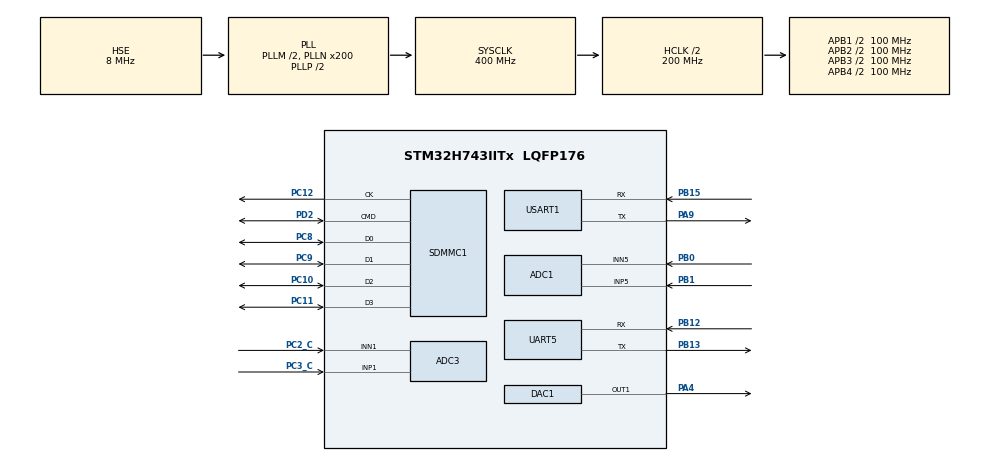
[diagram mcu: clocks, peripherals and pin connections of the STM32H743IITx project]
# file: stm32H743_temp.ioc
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ADC1.Channel-0\#ChannelRegularConversion=ADC_CHANNEL_5
ADC1.NbrOfConversionFlag=1
ADC1.OffsetNumber-0\#ChannelRegularConversion=ADC_OFFSET_NONE
ADC1.Rank-0\#ChannelRegularConversion=1
ADC1.SamplingTime-0\#ChannelRegularConversion=ADC_SAMPLETIME_1CYCLE_5
ADC1.SingleDiff-0\#ChannelRegularConversion=ADC_DIFFERENTIAL_ENDED
ADC1.master=1
ADC2.Channel-0\#ChannelRegularConversion=ADC_CHANNEL_5
ADC2.NbrOfConversionFlag=1
ADC2.OffsetNumber-0\#ChannelRegularConversion=ADC_OFFSET_NONE
ADC2.Rank-0\#ChannelRegularConversion=1
ADC2.SamplingTime-0\#ChannelRegularConversion=ADC_SAMPLETIME_1CYCLE_5
ADC2.SingleDiff-0\#ChannelRegularConversion=ADC_DIFFERENTIAL_ENDED
ADC3.Channel-0\#ChannelRegularConversion=ADC_CHANNEL_1
ADC3.NbrOfConversionFlag=1
ADC3.OffsetNumber-0\#ChannelRegularConversion=ADC_OFFSET_NONE
ADC3.Rank-0\#ChannelRegularConversion=1
ADC3.SamplingTime-0\#ChannelRegularConversion=ADC_SAMPLETIME_1CYCLE_5
ADC3.SingleDiff-0\#ChannelRegularConversion=ADC_DIFFERENTIAL_ENDED
CORTEX_M7.CPU_DCache=Enabled
FATFS._CODE_PAGE=936
FATFS._MAX_SS=4096
FATFS._STRF_ENCODE=0
FATFS._USE_FIND=1
FATFS._USE_LFN=2
FREERTOS.Tasks01=defaultTask,0,128,StartDefaultTask,Default,NULL,Dynamic,NULL,NULL;myTaskUsartSent,-3,128,UsartSent,Default,NULL,Dynamic,NULL,NULL;myTaskWriteDisk,-3,128,WriteDisk,Default,NULL,Dynamic,NULL,NULL;myTaskReadDisk,-3,128,ReadDisk,Default,NULL,Dynamic,NULL,NULL
Mcu.Family=STM32H7
Mcu.Name=STM32H743IITx
Mcu.Package=LQFP176
Mdma.MDMA_Channel0.Request0=SDMMC1_END_DATA
Mdma.MDMA_Channel0.RequestsNb=1
Mdma.MDMA_Channel0.SDMMC1_END_DATA.0.BlockCount=0
Mdma.MDMA_Channel0.SDMMC1_END_DATA.0.BlockDataLength=0
Mdma.MDMA_Channel0.SDMMC1_END_DATA.0.BufferTransferLength=1
Mdma.MDMA_Channel0.SDMMC1_END_DATA.0.CircularMode=MDMA_LINEAR_LIST
Mdma.MDMA_Channel0.SDMMC1_END_DATA.0.DataAlignment=MDMA_DATAALIGN_PACKENABLE
Mdma.MDMA_Channel0.SDMMC1_END_DATA.0.DestBlockAddressOffset=0
Mdma.MDMA_Channel0.SDMMC1_END_DATA.0.DestBurst=MDMA_DEST_BURST_SINGLE
Mdma.MDMA_Channel0.SDMMC1_END_DATA.0.DestDataSize=MDMA_DEST_DATASIZE_BYTE
Mdma.MDMA_Channel0.SDMMC1_END_DATA.0.DestinationInc=MDMA_DEST_INC_BYTE
Mdma.MDMA_Channel0.SDMMC1_END_DATA.0.DstAddress=0
Mdma.MDMA_Channel0.SDMMC1_END_DATA.0.Endianness=MDMA_LITTLE_ENDIANNESS_PRESERVE
Mdma.MDMA_Channel0.SDMMC1_END_DATA.0.Instance=MDMA_Channel0
Mdma.MDMA_Channel0.SDMMC1_END_DATA.0.MaskAddress=0
Mdma.MDMA_Channel0.SDMMC1_END_DATA.0.MaskData=0
Mdma.MDMA_Channel0.SDMMC1_END_DATA.0.Priority=MDMA_PRIORITY_LOW
Mdma.MDMA_Channel0.SDMMC1_END_DATA.0.Rank=First
Mdma.MDMA_Channel0.SDMMC1_END_DATA.0.SourceBlockAddressOffset=0
Mdma.MDMA_Channel0.SDMMC1_END_DATA.0.SourceBurst=MDMA_SOURCE_BURST_SINGLE
Mdma.MDMA_Channel0.SDMMC1_END_DATA.0.SourceDataSize=MDMA_SRC_DATASIZE_BYTE
Mdma.MDMA_Channel0.SDMMC1_END_DATA.0.SourceInc=MDMA_SRC_INC_BYTE
Mdma.MDMA_Channel0.SDMMC1_END_DATA.0.SrcAddress=0
Mdma.MDMA_Channel0.SDMMC1_END_DATA.0.TransferTriggerMode=MDMA_BUFFER_TRANSFER
Mdma.RequestSet0=MDMA_Channel0
Mdma.RequestSetsNb=1
NVIC.PriorityGroup=NVIC_PRIORITYGROUP_4
NVIC.SDMMC1_IRQn=true\:5\:0\:false\:false\:true\:true\:true
NVIC.TIM3_IRQn=true\:5\:0\:false\:false\:true\:true\:true
NVIC.TIM6_DAC_IRQn=true\:0\:0\:false\:false\:true\:false\:false
NVIC.TimeBase=TIM6_DAC_IRQn
NVIC.TimeBaseIP=TIM6
NVIC.UART5_IRQn=true\:5\:0\:false\:false\:true\:true\:true
NVIC.USART1_IRQn=true\:5\:0\:true\:false\:true\:true\:true
PA0-WKUP.Mode=SYS_WakeUp0
PA0-WKUP.Signal=SYS_WKUP0
PA13.Mode=Serial_Wire
PA13.Signal=SYS_JTMS-SWDIO
PA14.Mode=Serial_Wire
PA14.Signal=SYS_JTCK-SWCLK
PA4.Signal=COMP_DAC11_group
PA9.Mode=Asynchronous
PA9.Signal=USART1_TX
PB0.Signal=ADCx_INN5
PB1.Signal=ADCx_INP5
PB12.Mode=Asynchronous
PB12.Signal=UART5_RX
PB13.Mode=Asynchronous
PB13.Signal=UART5_TX
PB15.GPIO_ModeDefaultPP=GPIO_MODE_AF_PP
PB15.GPIO_PuPd=GPIO_NOPULL
PB15.GPIO_Speed=GPIO_SPEED_FREQ_LOW
PB15.Mode=Asynchronous
PB15.Signal=USART1_RX
PC10.Mode=SD_4_bits_Wide_bus
PC10.Signal=SDMMC1_D2
PC11.Mode=SD_4_bits_Wide_bus
PC11.Signal=SDMMC1_D3
PC12.Mode=SD_4_bits_Wide_bus
PC12.Signal=SDMMC1_CK
PC2_C.Mode=IN1-Differential
PC2_C.Signal=ADC3_INN1
PC3_C.Mode=IN1-Differential
PC3_C.Signal=ADC3_INP1
PC8.Mode=SD_4_bits_Wide_bus
PC8.Signal=SDMMC1_D0
PC9.Mode=SD_4_bits_Wide_bus
PC9.Signal=SDMMC1_D1
PD2.Mode=SD_4_bits_Wide_bus
PD2.Signal=SDMMC1_CMD
PH0-OSC_IN.Mode=HSE-External-Oscillator
PH0-OSC_IN.Signal=RCC_OSC_IN
PH1-OSC_OUT.Mode=HSE-External-Oscillator
PH1-OSC_OUT.Signal=RCC_OSC_OUT
ProjectManager.HeapSize=0x200
ProjectManager.StackSize=0x1000
ProjectManager.TargetToolchain=EWARM V8
RCC.ADCFreq_Value=152000000
RCC.APB1Freq_Value=100000000
RCC.APB2Freq_Value=100000000
RCC.APB3Freq_Value=100000000
RCC.APB4Freq_Value=100000000
RCC.CortexFreq_Value=400000000
RCC.D1PPRE=RCC_APB3_DIV2
RCC.D2PPRE1=RCC_APB1_DIV2
RCC.D2PPRE2=RCC_APB2_DIV2
RCC.D3PPRE=RCC_APB4_DIV2
RCC.DIVM1=2
RCC.DIVM2=1
RCC.DIVN1=200
RCC.DIVN2=19
RCC.DIVP2=1
RCC.DIVQ1=4
RCC.HCLKFreq_Value=200000000
RCC.HPRE=RCC_HCLK_DIV2
RCC.HSE_VALUE=8000000
RCC.PLLSourceVirtual=RCC_PLLSOURCE_HSE
RCC.SYSCLKFreq_VALUE=400000000
RCC.SYSCLKSource=RCC_SYSCLKSOURCE_PLLCLK
RCC.USBFreq_Value=200000000
SH.ADCx_INN5.0=ADC1_INN5,IN5-Differential
SH.ADCx_INN5.1=ADC2_INN5,IN5-Differential
SH.ADCx_INP5.0=ADC1_INP5,IN5-Differential
SH.ADCx_INP5.1=ADC2_INP5,IN5-Differential
SH.COMP_DAC11_group.0=DAC1_OUT1,DAC_OUT1_ExtAndInt
TIM3.Period=4999
TIM3.Prescaler=19999
USART1.VirtualMode-Asynchronous=VM_ASYNC
VP_CRC_VS_CRC.Mode=CRC_Activate
VP_FATFS_VS_SDIO.Mode=SDIO
VP_FREERTOS_VS_ENABLE.Mode=Enabled
VP_SYS_VS_tim6.Mode=TIM6
VP_TIM12_VS_ClockSourceINT.Mode=Internal
VP_TIM13_VS_ClockSourceINT.Mode=Enable_Timer
VP_TIM14_VS_ClockSourceINT.Mode=Enable_Timer
VP_TIM15_VS_ClockSourceINT.Mode=Internal
VP_TIM16_VS_ClockSourceINT.Mode=Enable_Timer
VP_TIM17_VS_ClockSourceINT.Mode=Enable_Timer
VP_TIM1_VS_ClockSourceINT.Mode=Internal
VP_TIM2_VS_ClockSourceINT.Mode=Internal
VP_TIM3_VS_ClockSourceINT.Mode=Internal
VP_TIM4_VS_ClockSourceINT.Mode=Internal
VP_TIM5_VS_ClockSourceINT.Mode=Internal
VP_TIM7_VS_ClockSourceINT.Mode=Enable_Timer
VP_TIM8_VS_ClockSourceINT.Mode=Internal
board=custom

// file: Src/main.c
/**
  ******************************************************************************
  * @file           : main.c
  * @brief          : Main program body
  ******************************************************************************
  * This notice applies to any and all portions of this file
  * that are not between comment pairs USER CODE BEGIN and
  * USER CODE END. Other portions of this file, whether
  * inserted by the user or by software development tools
  * are owned by their respective copyright owners.
  *
  * Copyright (c) 2018 STMicroelectronics International N.V.
  * All rights reserved.
  *
  * Redistribution and use in source and binary forms, with or without
  * modification, are permitted, provided that the following conditions are met:
  *
  * 1. Redistribution of source code must retain the above copyright notice,
  *    this list of conditions and the following disclaimer.
  * 2. Redistributions in binary form must reproduce the above copyright notice,
  *    this list of conditions and the following disclaimer in the documentation
  *    and/or other materials provided with the distribution.
  * 3. Neither the name of STMicroelectronics nor the names of other
  *    contributors to this software may be used to endorse or promote products
  *    derived from this software without specific written permission.
  * 4. This software, including modifications and/or derivative works of this
  *    software, must execute solely and exclusively on microcontroller or
  *    microprocessor devices manufactured by or for STMicroelectronics.
  * 5. Redistribution and use of this software other than as permitted under
  *    this license is void and will automatically terminate your rights under
  *    this license.
  *
  * THIS SOFTWARE IS PROVIDED BY STMICROELECTRONICS AND CONTRIBUTORS "AS IS"
  * AND ANY EXPRESS, IMPLIED OR STATUTORY WARRANTIES, INCLUDING, BUT NOT
  * LIMITED TO, THE IMPLIED WARRANTIES OF MERCHANTABILITY, FITNESS FOR A
  * PARTICULAR PURPOSE AND NON-INFRINGEMENT OF THIRD PARTY INTELLECTUAL PROPERTY
  * RIGHTS ARE DISCLAIMED TO THE FULLEST EXTENT PERMITTED BY LAW. IN NO EVENT
  * SHALL STMICROELECTRONICS OR CONTRIBUTORS BE LIABLE FOR ANY DIRECT, INDIRECT,
  * INCIDENTAL, SPECIAL, EXEMPLARY, OR CONSEQUENTIAL DAMAGES (INCLUDING, BUT NOT
  * LIMITED TO, PROCUREMENT OF SUBSTITUTE GOODS OR SERVICES; LOSS OF USE, DATA,
  * OR PROFITS; OR BUSINESS INTERRUPTION) HOWEVER CAUSED AND ON ANY THEORY OF
  * LIABILITY, WHETHER IN CONTRACT, STRICT LIABILITY, OR TORT (INCLUDING
  * NEGLIGENCE OR OTHERWISE) ARISING IN ANY WAY OUT OF THE USE OF THIS SOFTWARE,
  * EVEN IF ADVISED OF THE POSSIBILITY OF SUCH DAMAGE.
  *
  ******************************************************************************
  */
#include "main.h"
#include "stm32h7xx_hal.h"
#include "cmsis_os.h"
#include "adc.h"
#include "crc.h"
#include "dac.h"
#include "fatfs.h"
#include "mdma.h"
#include "sdmmc.h"
#include "tim.h"
#include "usart.h"
#include "gpio.h"

/* USER CODE BEGIN Includes */
extern int gUsartRecive[10];
/* USER CODE END Includes */

/* USER CODE BEGIN PV */
/* Private variables ---------------------------------------------------------*/

/* USER CODE END PV */

void SystemClock_Config(void);
void MX_FREERTOS_Init(void);

/* USER CODE BEGIN PFP */
/* Private function prototypes -----------------------------------------------*/

/* USER CODE END PFP */

/* USER CODE BEGIN 0 */

/*******************************************
*			usart1 debug print
********************************************/
int fputc(int ch,FILE *f)
{

  	HAL_UART_Transmit(&huart1, (uint8_t *)&ch,1, 0xFFFF);
  	return ch;

}
/* USER CODE END 0 */

int main(void)
{

  /* Enable D-Cache-------------------------------------------------------------*/
  SCB_EnableDCache();

  /* MCU Configuration----------------------------------------------------------*/

  /* Reset of all peripherals, Initializes the Flash interface and the Systick. */
  HAL_Init();

  /* Configure the system clock */
  SystemClock_Config();

  /* Initialize all configured peripherals */
  MX_GPIO_Init();
  MX_MDMA_Init();
  MX_CRC_Init();
  MX_ADC1_Init();
  MX_ADC2_Init();
  MX_ADC3_Init();
  MX_DAC1_Init();
  MX_TIM1_Init();
  MX_TIM2_Init();
  MX_TIM3_Init();
  MX_TIM4_Init();
  MX_TIM5_Init();
  MX_TIM7_Init();
  MX_TIM8_Init();
  MX_TIM12_Init();
  MX_TIM13_Init();
  MX_TIM14_Init();
  MX_TIM15_Init();
  MX_TIM16_Init();
  MX_TIM17_Init();
  MX_USART1_UART_Init();
  MX_UART5_Init();
  MX_SDMMC1_SD_Init();
  /* USER CODE BEGIN 2 */
  while(HAL_UART_Receive_IT(&huart1, (uint8_t *)aUsart1RxBuffer, 1) != HAL_OK);
//  while(HAL_UART_Receive_IT(&huart5, (uint8_t *)aUsart5RxBuffer, 1) != HAL_OK);
  /* USER CODE END 2 */

  /* Call init function for freertos objects (in freertos.c) */
  MX_FREERTOS_Init();

  /* Start scheduler */
  osKernelStart();

  /* We should never get here as control is now taken by the scheduler */

  /* Infinite loop */
  while (1)
  {

  /* USER CODE BEGIN 3 */
//    UsartSend();
  }
  /* USER CODE END 3 */

}

void SystemClock_Config(void)
{

  RCC_OscInitTypeDef RCC_OscInitStruct;
  RCC_ClkInitTypeDef RCC_ClkInitStruct;
  RCC_PeriphCLKInitTypeDef PeriphClkInitStruct;

    /**Supply configuration update enable
    */
  MODIFY_REG(PWR->CR3, PWR_CR3_SCUEN, 0);

    /**Configure the main internal regulator output voltage
    */
  __HAL_PWR_VOLTAGESCALING_CONFIG(PWR_REGULATOR_VOLTAGE_SCALE1);

  while ((PWR->D3CR & (PWR_D3CR_VOSRDY)) != PWR_D3CR_VOSRDY)
  {

  }
    /**Macro to configure the PLL clock source
    */
  __HAL_RCC_PLL_PLLSOURCE_CONFIG(RCC_PLLSOURCE_HSE);

    /**Initializes the CPU, AHB and APB busses clocks
    */
  RCC_OscInitStruct.OscillatorType = RCC_OSCILLATORTYPE_HSE;
  RCC_OscInitStruct.HSEState = RCC_HSE_ON;
  RCC_OscInitStruct.PLL.PLLState = RCC_PLL_ON;
  RCC_OscInitStruct.PLL.PLLSource = RCC_PLLSOURCE_HSE;
  RCC_OscInitStruct.PLL.PLLM = 2;
  RCC_OscInitStruct.PLL.PLLN = 200;
  RCC_OscInitStruct.PLL.PLLP = 2;
  RCC_OscInitStruct.PLL.PLLQ = 4;
  RCC_OscInitStruct.PLL.PLLR = 2;
  RCC_OscInitStruct.PLL.PLLRGE = RCC_PLL1VCIRANGE_2;
  RCC_OscInitStruct.PLL.PLLVCOSEL = RCC_PLL1VCOWIDE;
  RCC_OscInitStruct.PLL.PLLFRACN = 0;
  if (HAL_RCC_OscConfig(&RCC_OscInitStruct) != HAL_OK)
  {
    _Error_Handler(__FILE__, __LINE__);
  }

    /**Initializes the CPU, AHB and APB busses clocks
    */
  RCC_ClkInitStruct.ClockType = RCC_CLOCKTYPE_HCLK|RCC_CLOCKTYPE_SYSCLK
                              |RCC_CLOCKTYPE_PCLK1|RCC_CLOCKTYPE_PCLK2
                              |RCC_CLOCKTYPE_D3PCLK1|RCC_CLOCKTYPE_D1PCLK1;
  RCC_ClkInitStruct.SYSCLKSource = RCC_SYSCLKSOURCE_PLLCLK;
  RCC_ClkInitStruct.SYSCLKDivider = RCC_SYSCLK_DIV1;
  RCC_ClkInitStruct.AHBCLKDivider = RCC_HCLK_DIV2;
  RCC_ClkInitStruct.APB3CLKDivider = RCC_APB3_DIV2;
  RCC_ClkInitStruct.APB1CLKDivider = RCC_APB1_DIV2;
  RCC_ClkInitStruct.APB2CLKDivider = RCC_APB2_DIV2;
  RCC_ClkInitStruct.APB4CLKDivider = RCC_APB4_DIV2;

  if (HAL_RCC_ClockConfig(&RCC_ClkInitStruct, FLASH_LATENCY_2) != HAL_OK)
  {
    _Error_Handler(__FILE__, __LINE__);
  }

  PeriphClkInitStruct.PeriphClockSelection = RCC_PERIPHCLK_USART1|RCC_PERIPHCLK_UART5
                              |RCC_PERIPHCLK_SDMMC|RCC_PERIPHCLK_ADC;
  PeriphClkInitStruct.PLL2.PLL2M = 1;
  PeriphClkInitStruct.PLL2.PLL2N = 19;
  PeriphClkInitStruct.PLL2.PLL2P = 1;
  PeriphClkInitStruct.PLL2.PLL2Q = 2;
  PeriphClkInitStruct.PLL2.PLL2R = 2;
  PeriphClkInitStruct.PLL2.PLL2RGE = RCC_PLL2VCIRANGE_3;
  PeriphClkInitStruct.PLL2.PLL2VCOSEL = RCC_PLL2VCOMEDIUM;
  PeriphClkInitStruct.PLL2.PLL2FRACN = 0;
  PeriphClkInitStruct.SdmmcClockSelection = RCC_SDMMCCLKSOURCE_PLL;
  PeriphClkInitStruct.Usart234578ClockSelection = RCC_USART234578CLKSOURCE_D2PCLK1;
  PeriphClkInitStruct.Usart16ClockSelection = RCC_USART16CLKSOURCE_D2PCLK2;
  PeriphClkInitStruct.AdcClockSelection = RCC_ADCCLKSOURCE_PLL2;
  if (HAL_RCCEx_PeriphCLKConfig(&PeriphClkInitStruct) != HAL_OK)
  {
    _Error_Handler(__FILE__, __LINE__);
  }

    /**Configure the Systick interrupt time
    */
  HAL_SYSTICK_Config(SystemCoreClock/1000);

    /**Configure the Systick
    */
  HAL_SYSTICK_CLKSourceConfig(SYSTICK_CLKSOURCE_HCLK);

  /* SysTick_IRQn interrupt configuration */
  HAL_NVIC_SetPriority(SysTick_IRQn, 15, 0);
}

void HAL_TIM_PeriodElapsedCallback(TIM_HandleTypeDef *htim)
{
  if (htim->Instance == TIM6) {
    HAL_IncTick();
  }
}

void _Error_Handler(char *file, int line)
{
  while(1)
  {
  }
}

/************************ (C) COPYRIGHT STMicroelectronics *****END OF FILE****/

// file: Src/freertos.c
/* USER CODE BEGIN Header */
/**
  ******************************************************************************
  * File Name          : freertos.c
  * Description        : Code for freertos applications
  ******************************************************************************
  * This notice applies to any and all portions of this file
  * that are not between comment pairs USER CODE BEGIN and
  * USER CODE END. Other portions of this file, whether
  * inserted by the user or by software development tools
  * are owned by their respective copyright owners.
  *
  * Copyright (c) 2018 STMicroelectronics International N.V.
  * All rights reserved.
  *
  * Redistribution and use in source and binary forms, with or without
  * modification, are permitted, provided that the following conditions are met:
  *
  * 1. Redistribution of source code must retain the above copyright notice,
  *    this list of conditions and the following disclaimer.
  * 2. Redistributions in binary form must reproduce the above copyright notice,
  *    this list of conditions and the following disclaimer in the documentation
  *    and/or other materials provided with the distribution.
  * 3. Neither the name of STMicroelectronics nor the names of other
  *    contributors to this software may be used to endorse or promote products
  *    derived from this software without specific written permission.
  * 4. This software, including modifications and/or derivative works of this
  *    software, must execute solely and exclusively on microcontroller or
  *    microprocessor devices manufactured by or for STMicroelectronics.
  * 5. Redistribution and use of this software other than as permitted under
  *    this license is void and will automatically terminate your rights under
  *    this license.
  *
  * THIS SOFTWARE IS PROVIDED BY STMICROELECTRONICS AND CONTRIBUTORS "AS IS"
  * AND ANY EXPRESS, IMPLIED OR STATUTORY WARRANTIES, INCLUDING, BUT NOT
  * LIMITED TO, THE IMPLIED WARRANTIES OF MERCHANTABILITY, FITNESS FOR A
  * PARTICULAR PURPOSE AND NON-INFRINGEMENT OF THIRD PARTY INTELLECTUAL PROPERTY
  * RIGHTS ARE DISCLAIMED TO THE FULLEST EXTENT PERMITTED BY LAW. IN NO EVENT
  * SHALL STMICROELECTRONICS OR CONTRIBUTORS BE LIABLE FOR ANY DIRECT, INDIRECT,
  * INCIDENTAL, SPECIAL, EXEMPLARY, OR CONSEQUENTIAL DAMAGES (INCLUDING, BUT NOT
  * LIMITED TO, PROCUREMENT OF SUBSTITUTE GOODS OR SERVICES; LOSS OF USE, DATA,
  * OR PROFITS; OR BUSINESS INTERRUPTION) HOWEVER CAUSED AND ON ANY THEORY OF
  * LIABILITY, WHETHER IN CONTRACT, STRICT LIABILITY, OR TORT (INCLUDING
  * NEGLIGENCE OR OTHERWISE) ARISING IN ANY WAY OUT OF THE USE OF THIS SOFTWARE,
  * EVEN IF ADVISED OF THE POSSIBILITY OF SUCH DAMAGE.
  *
  ******************************************************************************
  */
/* USER CODE END Header */

#include "FreeRTOS.h"
#include "task.h"
#include "main.h"
#include "cmsis_os.h"

/* USER CODE BEGIN Includes */
#include "usart.h"
#include "ff.h"
#include "fatfs.h"
/* USER CODE END Includes */

/* USER CODE BEGIN PTD */
FATFS fs;                 // Work area (file system object) for logical drive
FIL fil;                  // file objects

uint32_t byteswritten;                /* File write counts */
uint32_t bytesread;                   /* File read counts */
uint8_t wtext[] = "This is STM32 working with FatFs"; /* File write buffer */
uint8_t rtext[100];                     /* File read buffers */
char filename[] = "STM32cube.txt";

/* USER CODE END PTD */

osThreadId defaultTaskHandle;
osThreadId myTaskUsartSentHandle;
osThreadId myTaskWriteDiskHandle;
osThreadId myTaskReadDiskHandle;

void StartDefaultTask(void const * argument);
void UsartSent(void const * argument);
void WriteDisk(void const * argument);
void ReadDisk(void const * argument);

extern void MX_FATFS_Init(void);
void MX_FREERTOS_Init(void); /* (MISRA C 2004 rule 8.1) */

void MX_FREERTOS_Init(void) {

  /* Create the thread(s) */
  /* definition and creation of defaultTask */
  osThreadDef(defaultTask, StartDefaultTask, osPriorityNormal, 0, 128);
  defaultTaskHandle = osThreadCreate(osThread(defaultTask), NULL);

  /* definition and creation of myTaskUsartSent */
  osThreadDef(myTaskUsartSent, UsartSent, osPriorityIdle, 0, 128);
  myTaskUsartSentHandle = osThreadCreate(osThread(myTaskUsartSent), NULL);

  /* definition and creation of myTaskWriteDisk */
  osThreadDef(myTaskWriteDisk, WriteDisk, osPriorityIdle, 0, 128);
  myTaskWriteDiskHandle = osThreadCreate(osThread(myTaskWriteDisk), NULL);

  /* definition and creation of myTaskReadDisk */
  osThreadDef(myTaskReadDisk, ReadDisk, osPriorityIdle, 0, 128);
  myTaskReadDiskHandle = osThreadCreate(osThread(myTaskReadDisk), NULL);

}

void StartDefaultTask(void const * argument)
{
  /* init code for FATFS */
  MX_FATFS_Init();

  /* USER CODE BEGIN StartDefaultTask */
      PrintToPC("\r\n ****** FatFs Example ******\r\n\r\n");
      retSD = f_mount(NULL, "", 0);
    /*##-1- Register the file system object to the FatFs module ##############*/
    retSD = f_mount(&fs, SDPath, 0);
    if(retSD)
    {
        PrintToPC(" mount error : %d \r\n");
        Error_Handler();
    }
    else
        PrintToPC(" mount sucess!!! \r\n");

    /*##-2- Create and Open new text file objects with write access ######*/
    retSD = f_open(&fil, filename, FA_CREATE_ALWAYS | FA_WRITE);
    if(retSD)
        PrintToPC(" open file error : %d\r\n");
    else
        PrintToPC(" open file sucess!!! \r\n");

    /*##-3- Write data to the text files ###############################*/
    retSD = f_write(&fil, wtext, sizeof(wtext), (void *)&byteswritten);
    if(retSD)
        PrintToPC(" write file error : %d\r\n");
    else
    {
        PrintToPC(" write file sucess!!! \r\n");
        PrintToPC(" write Data : %s\r\n");
    }

    /*##-4- Close the open text files ################################*/
    retSD = f_close(&fil);
    if(retSD)
        PrintToPC(" close error : %d\r\n");
    else
        PrintToPC(" close sucess!!! \r\n");

    /*##-5- Open the text files object with read access ##############*/
    retSD = f_open(&fil, filename, FA_READ);
    if(retSD)
        PrintToPC(" open file error : %d\r\n");
    else
        PrintToPC(" open file sucess!!! \r\n");

    /*##-6- Read data from the text files ##########################*/
    retSD = f_read(&fil, rtext, sizeof(rtext), (UINT*)&bytesread);
    if(retSD)
        PrintToPC(" read error!!! %d\r\n");
    else
    {
        PrintToPC(" read sucess!!! \r\n");
        PrintToPC(" read Data : %s\r\n");
    }

    /*##-7- Close the open text files ############################*/
    retSD = f_close(&fil);
    if(retSD)
        PrintToPC(" close error!!! %d\r\n");
    else
        PrintToPC(" close sucess!!! \r\n");

    /*##-8- Compare read data with the expected data ############*/
    if(bytesread == byteswritten)
    {
        PrintToPC(" FatFs is working well!!!\r\n");
    }
  /* Infinite loop */
  for(;;)
  {
    osDelay(1);
  }
  /* USER CODE END StartDefaultTask */
}

void UsartSent(void const * argument)
{
  /* USER CODE BEGIN UsartSent */
  /* Infinite loop */
  for(;;)
  {
    PrintToPC("Hello everyone!\n");
    osDelay(1000);
  }
  /* USER CODE END UsartSent */
}

void WriteDisk(void const * argument)
{
  for(;;)
  {
    osDelay(1);
  }
}

void ReadDisk(void const * argument)
{
  for(;;)
  {
    osDelay(1);
  }
}

/************************ (C) COPYRIGHT STMicroelectronics *****END OF FILE****/
